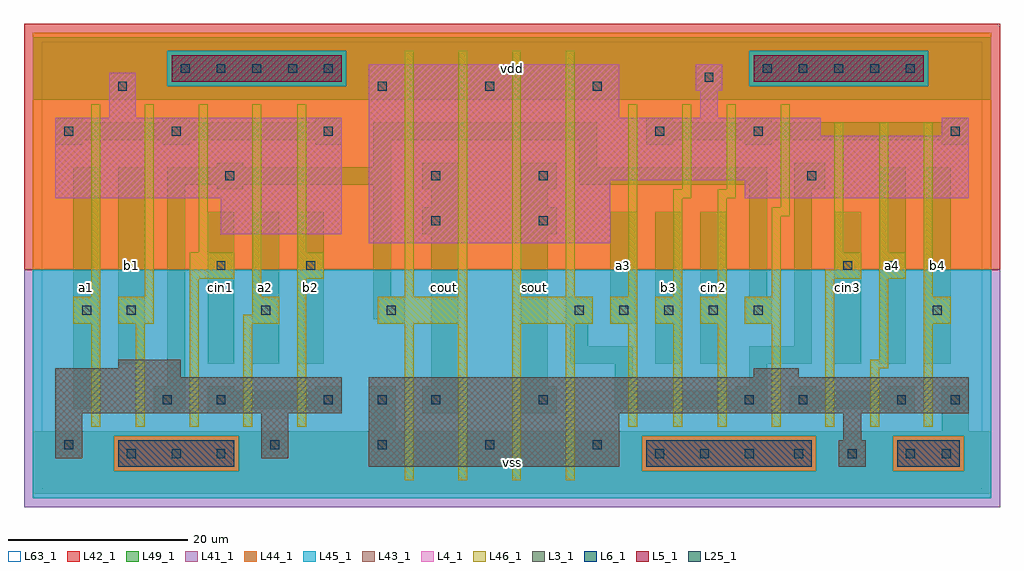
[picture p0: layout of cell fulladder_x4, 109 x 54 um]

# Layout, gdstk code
import gdstk
lib = gdstk.Library(unit=1e-6, precision=1e-09)
def R(c, l, rs):  # rectangles x0, y0, x1, y1
    for r in rs: c.add(gdstk.rectangle(r[:2], r[2:], *l))
def A(c, l, x, y, w, h, nx, ny, dx, dy):  # array of equal rectangles
    R(c, l, [(x+i*dx, y+j*dy, x+i*dx+w, y+j*dy+h) for i in range(nx) for j in range(ny)])
L3_1 = (3, 1)
L4_1 = (4, 1)
L5_1 = (5, 1)
L6_1 = (6, 1)
L25_1 = (25, 1)
L41_1 = (41, 1)
L42_1 = (42, 1)
L43_1 = (43, 1)
L44_1 = (44, 1)
L45_1 = (45, 1)
L46_1 = (46, 1)
L49_1 = (49, 1)
L63_1 = (63, 1)

fulladder_x4 = lib.new_cell('fulladder_x4')
R(fulladder_x4, L3_1, [(36.5,2.5,64.5,8.5), (89,2.5,92,5.5), (1.5,3.5,4.5,8.5), (24.5,3.5,27.5,8.5), (89.5,5.5,91.5,8.5), (1.5,8.5,33.5,12.5), (36.5,8.5,103.5,12.5), (1.5,12.5,15.5,13.5), (79.5,12.5,84.5,13.5), (8.5,13.5,15.5,14.5)])
R(fulladder_x4, L4_1, [(36.5,27.5,63.5,34.5), (20,28.5,33.5,32.5), (1.5,32.5,33.5,41.5), (78.5,32.5,103.5,34.5), (36.5,34.5,103.5,39.5), (36.5,39.5,87,41.5), (100.5,39.5,103.5,41.5), (7.5,41.5,10.5,46.5), (36.5,41.5,64.5,47.5), (73.5,41.5,75.5,44.5), (73,44.5,76,47.5)])
R(fulladder_x4, L5_1, [(14.5,45.5,33.5,48.5), (79.5,45.5,98.5,48.5)])
R(fulladder_x4, L6_1, [(8.5,2.5,21.5,5.5), (67.5,2.5,86,5.5), (95.5,2.5,102.5,5.5)])
A(fulladder_x4, L25_1, 9.5, 3.5, 1, 1, 3, 1, 5, 0)
A(fulladder_x4, L25_1, 68.5, 3.5, 1, 1, 3, 1, 5, 0)
A(fulladder_x4, L25_1, 25.5, 4.5, 1, 1, 4, 1, 12, 0)
A(fulladder_x4, L25_1, 31.5, 9.5, 1, 1, 3, 1, 6, 0)
A(fulladder_x4, L25_1, 59.5, 19.5, 1, 1, 5, 1, 5, 0)
A(fulladder_x4, L25_1, 37.5, 44.5, 1, 1, 3, 1, 12, 0)
A(fulladder_x4, L25_1, 15.5, 46.5, 1, 1, 5, 1, 4, 0)
A(fulladder_x4, L25_1, 80.5, 46.5, 1, 1, 5, 1, 4, 0)
R(fulladder_x4, L25_1, [(84,3.5,85,4.5), (90,3.5,91,4.5), (96.5,3.5,97.5,4.5), (100.5,3.5,101.5,4.5), (2.5,4.5,3.5,5.5), (13.5,9.5,14.5,10.5), (19.5,9.5,20.5,10.5), (55.5,9.5,56.5,10.5), (78.5,9.5,79.5,10.5), (84.5,9.5,85.5,10.5), (95.5,9.5,96.5,10.5), (101.5,9.5,102.5,10.5), (4.5,19.5,5.5,20.5), (9.5,19.5,10.5,20.5), (24.5,19.5,25.5,20.5), (38.5,19.5,39.5,20.5), (99.5,19.5,100.5,20.5), (19.5,24.5,20.5,25.5), (29.5,24.5,30.5,25.5), (89.5,24.5,90.5,25.5), (94.5,24.5,95.5,25.5), (43.5,29.5,44.5,30.5), (55.5,29.5,56.5,30.5), (20.5,34.5,21.5,35.5), (43.5,34.5,44.5,35.5), (55.5,34.5,56.5,35.5), (85.5,34.5,86.5,35.5), (2.5,39.5,3.5,40.5), (14.5,39.5,15.5,40.5), (31.5,39.5,32.5,40.5), (68.5,39.5,69.5,40.5), (79.5,39.5,80.5,40.5), (101.5,39.5,102.5,40.5), (8.5,44.5,9.5,45.5), (74,45.5,75,46.5)])
R(fulladder_x4, L41_1, [(-2,-2,107,24.5)])
R(fulladder_x4, L42_1, [(-2,24.5,107,52)])
R(fulladder_x4, L43_1, [(8.5,2.5,21.5,5.5), (36.5,2.5,64.5,8.5), (67.5,2.5,86,5.5), (89,2.5,92,5.5), (95.5,2.5,102.5,5.5), (1.5,3.5,4.5,8.5), (24.5,3.5,27.5,8.5), (89.5,5.5,91.5,8.5), (1.5,8.5,33.5,12.5), (36.5,8.5,103.5,12.5), (1.5,12.5,15.5,13.5), (79.5,12.5,84.5,13.5), (8.5,13.5,15.5,14.5), (36.5,27.5,63.5,34.5), (20,28.5,33.5,32.5), (1.5,32.5,33.5,41.5), (78.5,32.5,103.5,34.5), (36.5,34.5,103.5,39.5), (36.5,39.5,87,41.5), (100.5,39.5,103.5,41.5), (7.5,41.5,10.5,46.5), (36.5,41.5,64.5,47.5), (73.5,41.5,75.5,44.5), (73,44.5,76,47.5), (14.5,45.5,33.5,48.5), (79.5,45.5,98.5,48.5)])
R(fulladder_x4, L44_1, [(8,2,22,6), (67,2,86.5,6), (95,2,103,6), (-1,24.5,106,45), (-1,45,14,49), (34,45,79,49), (99,45,106,49), (-1,49,106,51)])
R(fulladder_x4, L45_1, [(-1,-1,106,2), (-1,2,8,6), (22,2,67,6), (86.5,2,95,6), (103,2,106,6), (-1,6,106,24.5), (14,45,34,49), (79,45,99,49)])
A(fulladder_x4, L46_1, 40.5, 1, 1, 17.5, 4, 1, 6, 0)
A(fulladder_x4, L46_1, 65.5, 7, 1, 11.5, 3, 1, 5, 0)
A(fulladder_x4, L46_1, 63.5, 18.5, 3, 3, 3, 1, 5, 0)
A(fulladder_x4, L46_1, 40.5, 21.5, 1, 27.5, 4, 1, 6, 0)
R(fulladder_x4, L46_1, [(5.5,7,6.5,18.5), (10.5,7,11.5,18.5), (16.5,7,17.5,23.5), (22.5,7,23.5,18.5), (28.5,7,29.5,23.5), (81.5,7,82.5,18.5), (87.5,7,88.5,23.5), (92.5,7,93.5,13.5), (98.5,7,99.5,18.5), (92.5,13.5,94.5,14.5), (93.5,14.5,94.5,23.5), (3.5,18.5,6.5,21.5), (8.5,18.5,12.5,21.5), (22.5,18.5,26.5,19.5), (37.5,18.5,47.5,21.5), (52.5,18.5,61.5,21.5), (78.5,18.5,82.5,21.5), (98.5,18.5,101.5,21.5), (23.5,19.5,26.5,21.5), (5.5,21.5,6.5,43), (11.5,21.5,12.5,43), (23.5,21.5,24.5,43), (65.5,21.5,66.5,43), (70.5,21.5,71.5,32.5), (75.5,21.5,76.5,32.5), (81.5,21.5,82.5,30.5), (98.5,21.5,99.5,41), (16.5,23.5,21.5,26.5), (28.5,23.5,31.5,26.5), (87.5,23.5,91.5,24.5), (93.5,23.5,96.5,26.5), (88.5,24.5,91.5,26.5), (17.5,26.5,18.5,43), (28.5,26.5,29.5,43), (88.5,26.5,89.5,41), (93.5,26.5,94.5,41), (81.5,30.5,83.5,31.5), (82.5,31.5,83.5,43), (70.5,32.5,72.5,33.5), (75.5,32.5,77.5,33.5), (71.5,33.5,72.5,43), (76.5,33.5,77.5,43)])
A(fulladder_x4, L49_1, 18.5, 14, 3, 17, 3, 1, 5, 0)
R(fulladder_x4, L49_1, [(-1,-0.5,106,6.5), (36.5,6.5,39.5,11.5), (100.5,6.5,103.5,11.5), (12.5,8.5,15.5,9), (18.5,8.5,21.5,9), (30.5,8.5,33.5,9), (42.5,8.5,46.5,11.5), (53.5,8.5,57.5,11.5), (77.5,8.5,81,9), (83.5,8.5,86.5,9), (94.5,8.5,97.5,9), (3.5,9,6.5,36), (12.5,9,16,11.5), (18.5,9,33.5,11), (64,9,81,11), (83.5,9,97.5,11), (18.5,11,21.5,11.5), (30.5,11,33.5,11.5), (64,11,66,14), (77.5,11,81,11.5), (83.5,11,86.5,11.5), (94.5,11,97.5,11.5), (14,11.5,16,34), (43.5,11.5,46.5,28.5), (53.5,11.5,56.5,28.5), (79,11.5,81,14), (8.5,14,11.5,36), (59,14,66,16), (68.5,14,71.5,31), (73.5,14,76.5,31), (79,14,86,16), (88.5,14,91.5,31), (93.5,14,96.5,36), (98.5,14,101.5,36), (59,16,61,18.5), (84,16,86,33.5), (37.5,18.5,40.5,19), (58.5,18.5,61.5,21.5), (63.5,18.5,66.5,31), (78.5,18.5,81.5,21.5), (37,19,40.5,21.5), (37,21.5,39,34), (79,21.5,81,34), (42.5,28.5,46.5,31.5), (53.5,28.5,57.5,31.5), (43.5,31.5,46.5,33.5), (53.5,31.5,56.5,33.5), (19.5,33.5,22.5,34), (42.5,33.5,46.5,36.5), (53.5,33.5,57.5,36.5), (84,33.5,87.5,36.5), (14,34,39,36), (60,34,81,36), (19.5,36,22.5,36.5), (37,36,39,39), (60,36,62,39), (1.5,38.5,4.5,39), (13.5,38.5,16.5,39), (30.5,38.5,33.5,39), (67.5,38.5,70.5,39), (78.5,38.5,81.5,39), (100.5,38.5,103.5,39), (1.5,39,33.5,41), (37,39,62,41), (67.5,39,103.5,41), (1.5,41,4.5,41.5), (13.5,41,16.5,41.5), (30.5,41,33.5,41.5), (67.5,41,70.5,41.5), (78.5,41,81.5,41.5), (100.5,41,103.5,41.5), (-1,43.5,106,50.5)])
R(fulladder_x4, L63_1, [(0,0,105,50)])
fulladder_x4.add(gdstk.Label('a1', (5,22.5), layer=49, texttype=1))
fulladder_x4.add(gdstk.Label('b1', (10,25), layer=49, texttype=1))
fulladder_x4.add(gdstk.Label('b1', (10,25), layer=49, texttype=1))
fulladder_x4.add(gdstk.Label('a1', (5,22.5), layer=49, texttype=1))
fulladder_x4.add(gdstk.Label('cin1', (20,22.5), layer=49, texttype=1))
fulladder_x4.add(gdstk.Label('cin1', (20,22.5), layer=49, texttype=1))
fulladder_x4.add(gdstk.Label('b2', (30,22.5), layer=49, texttype=1))
fulladder_x4.add(gdstk.Label('a2', (25,22.5), layer=49, texttype=1))
fulladder_x4.add(gdstk.Label('a2', (25,22.5), layer=49, texttype=1))
fulladder_x4.add(gdstk.Label('b2', (30,22.5), layer=49, texttype=1))
fulladder_x4.add(gdstk.Label('vss', (52.5,3), layer=49, texttype=1))
fulladder_x4.add(gdstk.Label('vss', (52.5,3), layer=49, texttype=1))
fulladder_x4.add(gdstk.Label('sout', (55,22.5), layer=49, texttype=1))
fulladder_x4.add(gdstk.Label('cout', (45,22.5), layer=49, texttype=1))
fulladder_x4.add(gdstk.Label('sout', (55,22.5), layer=49, texttype=1))
fulladder_x4.add(gdstk.Label('cout', (45,22.5), layer=49, texttype=1))
fulladder_x4.add(gdstk.Label('vdd', (52.5,47), layer=49, texttype=1))
fulladder_x4.add(gdstk.Label('vdd', (52.5,47), layer=49, texttype=1))
fulladder_x4.add(gdstk.Label('b3', (70,22.5), layer=49, texttype=1))
fulladder_x4.add(gdstk.Label('cin2', (75,22.5), layer=49, texttype=1))
fulladder_x4.add(gdstk.Label('a3', (65,25), layer=49, texttype=1))
fulladder_x4.add(gdstk.Label('cin2', (75,22.5), layer=49, texttype=1))
fulladder_x4.add(gdstk.Label('b3', (70,22.5), layer=49, texttype=1))
fulladder_x4.add(gdstk.Label('a3', (65,25), layer=49, texttype=1))
fulladder_x4.add(gdstk.Label('b4', (100,25), layer=49, texttype=1))
fulladder_x4.add(gdstk.Label('a4', (95,25), layer=49, texttype=1))
fulladder_x4.add(gdstk.Label('cin3', (90,22.5), layer=49, texttype=1))
fulladder_x4.add(gdstk.Label('a4', (95,25), layer=49, texttype=1))
fulladder_x4.add(gdstk.Label('b4', (100,25), layer=49, texttype=1))
fulladder_x4.add(gdstk.Label('cin3', (90,22.5), layer=49, texttype=1))

lib.write_gds('fulladder_x4.gds')
